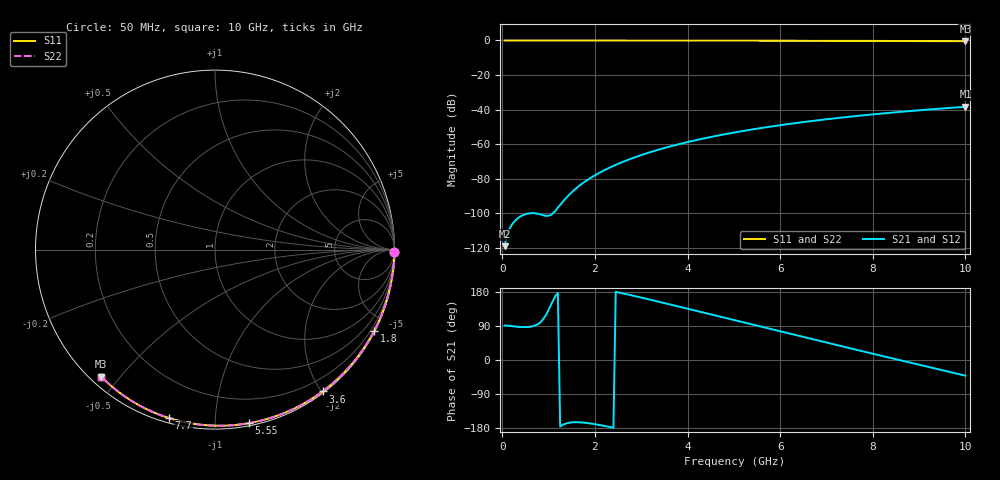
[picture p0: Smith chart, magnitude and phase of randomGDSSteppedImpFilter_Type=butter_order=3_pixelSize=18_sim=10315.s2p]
! freq	dB(S11)	phase(S11)	dB(S12)	phase(S12)
!  dB(S21)	phase(S21)	dB(S22)	phase(S22)
!S-par simulation data
#  GHz  S  DB  R 50
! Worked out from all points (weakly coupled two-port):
!   200 points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, 50 MHz to 10 GHz, reference 50 ohm
!   highest |S21| = -38.38 dB at 10 GHz (marker M1); lowest = -119.0 dB at 50 MHz (marker M2)
!   lowest |S11| = -0.4 dB at 10 GHz (marker M3), VSWR 38.94, Z = 1.54 - j22.3 ohm
!   |S11| at or under -10 dB: nowhere
!   |S22| runs from -0.4 to 0.0 dB; largest |S21 - S12| = 0
!   S11 on the Smith chart (normalised r, x): 50 MHz: open; 1.8 GHz: 0.04, -4.16; 3.6 GHz: 0.02, -2.01; 5.55 GHz: 0.02, -1.21; 7.7 GHz: 0.02, -0.76; 10 GHz: 0.03, -0.45
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0.05  -0.00 -0.8  -119.01 91.0  -119.01 91.0  -0.00 -0.8
0.9  -0.02 -13.6  -101.23 110.9  -101.23 110.9  -0.02 -13.6
1.75  -0.03 -26.3  -82.33 -165.2  -82.33 -165.2  -0.03 -26.3
1.8  -0.03 -27.0  -81.39 -165.9  -81.39 -165.9  -0.03 -27.0
1.85  -0.04 -27.8  -80.49 -166.6  -80.49 -166.6  -0.04 -27.8
1.9  -0.04 -28.5  -79.63 -167.5  -79.63 -167.5  -0.04 -28.5
2.05  -0.04 -30.7  -77.25 -170.4  -77.25 -170.4  -0.04 -30.7
2.25  -0.04 -33.6  -74.44 -175.0  -74.44 -175.0  -0.04 -33.6
2.45  -0.05 -36.5  -71.96 180.0  -71.96 180.0  -0.05 -36.5
2.65  -0.05 -39.4  -69.73 174.6  -69.73 174.6  -0.05 -39.4
3  -0.06 -44.4  -66.32 164.8  -66.32 164.8  -0.06 -44.4
3.4  -0.07 -50.1  -62.98 153.2  -62.98 153.2  -0.07 -50.0
3.6  -0.07 -52.8  -61.49 147.3  -61.49 147.3  -0.07 -52.8
4.3  -0.09 -62.4  -56.98 126.4  -56.98 126.4  -0.09 -62.4
5.05  -0.11 -72.4  -53.06 103.9  -53.06 103.9  -0.11 -72.4
5.55  -0.13 -78.9  -50.83 88.9  -50.83 88.9  -0.13 -78.9
6.1  -0.15 -85.9  -48.65 72.5  -48.65 72.5  -0.15 -85.9
6.7  -0.18 -93.3  -46.55 54.6  -46.55 54.6  -0.18 -93.3
7.7  -0.24 -105.4  -43.56 25.3  -43.56 25.3  -0.24 -105.4
8.35  -0.29 -113.0  -41.89 6.4  -41.89 6.4  -0.29 -113.0
9.15  -0.36 -122.2  -40.07 -16.8  -40.07 -16.8  -0.36 -122.2
10  -0.45 -131.9  -38.38 -41.3  -38.38 -41.3  -0.45 -131.8
